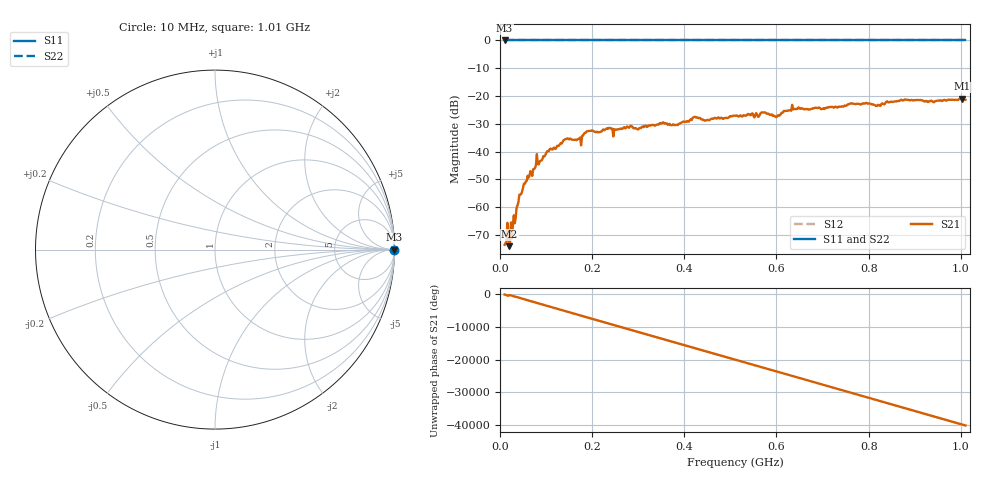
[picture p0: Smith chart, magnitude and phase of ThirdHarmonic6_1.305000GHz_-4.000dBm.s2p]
! 8/16/2025 2:23:04 PM
! C:\ANRITSUVNA\TEMP\TEMP.S2P
! CHANNEL.1
! TR.MEASUREMENT
! RAW.DATA
! RF.CORRECTION.OFF
! AVERAGING.OFF
! IF.BANDWIDTH: 5KHZ
! SWEEPTYPE:  FREQ.SWEEP(Linear)
! Reference Plane Port Info
! PORT:  PORT1  PORT2
! DISTANCE:  0  m  0  m
! TIME:  0  s  0  s
! PHASE.OFFSET:  0  deg.  0  deg.
! LOSS:  0  dB  0  dB
! REF.LOSS:  0  dB  0  dB
! REF.FREQ:  0  Hz  0  Hz
! Power Info
! POWER:  -20  dBm  -20  dBm
! EFF.POWER:  -20  dBm  -20  dBm
! SOURCE.ATTEN:  0  dB  0  dB
! TEST.ATTEN:  0  dB  0  dB
# GHZ S RI R 50.0
! FREQ.GHZ  S11RE  S11IM  S21RE  S21IM  S12RE  S12IM  S22RE  S22IM
!; PortSelection: Port_12
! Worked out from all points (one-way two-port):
!   501 points, 10 MHz to 1.01 GHz, reference 50 ohm
!   highest |S21| = -20.98 dB at 1.002 GHz (marker M1); lowest = -74.1 dB at 20 MHz (marker M2)
!   lowest |S11| = 0.0 dB at 10 MHz (marker M3)
!   |S11| at or under -10 dB: nowhere
!   |S22| runs from 0.0 to 0.0 dB; largest |S21 - S12| = 1.1
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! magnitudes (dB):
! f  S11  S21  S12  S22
! 10 MHz  0.0  -73.6  0.0  0.0
! 20 MHz  0.0  -74.1  0.0  0.0
! 24 MHz  0.0  -65.5  0.0  0.0
! 40 MHz  0.0  -58.2  0.0  0.0
! 46 MHz  0.0  -55.3  0.0  0.0
! 76 MHz  0.0  -45.9  0.0  0.0
! 106 MHz  0.0  -39.9  0.0  0.0
! 142 MHz  0.0  -35.5  0.0  0.0
! 178 MHz  0.0  -34.4  0.0  0.0
! 192 MHz  0.0  -32.6  0.0  0.0
! 344 MHz  0.0  -30.3  0.0  0.0
! 382 MHz  0.0  -30.4  0.0  0.0
! 422 MHz  0.0  -27.5  0.0  0.0
! 448 MHz  0.0  -28.7  0.0  0.0
! 510 MHz  0.0  -27.1  0.0  0.0
! 572 MHz  0.0  -25.9  0.0  0.0
! 598 MHz  0.0  -27.5  0.0  0.0
! 638 MHz  0.0  -24.7  0.0  0.0
! 678 MHz  0.0  -24.6  0.0  0.0
! 844 MHz  0.0  -22.3  0.0  0.0
! 1.002 GHz  0.0  -21.0  0.0  0.0
! 1.01 GHz  0.0  -21.4  0.0  0.0
